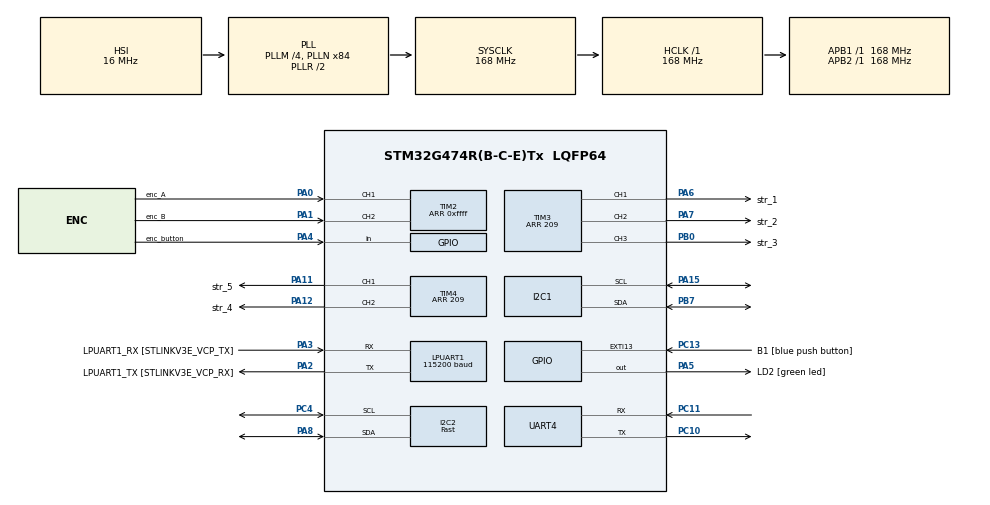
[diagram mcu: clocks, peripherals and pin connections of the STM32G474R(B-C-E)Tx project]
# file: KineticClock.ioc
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Dma.LPUART1_RX.5.Direction=DMA_PERIPH_TO_MEMORY
Dma.LPUART1_RX.5.EventEnable=DISABLE
Dma.LPUART1_RX.5.Instance=DMA1_Channel7
Dma.LPUART1_RX.5.MemDataAlignment=DMA_MDATAALIGN_BYTE
Dma.LPUART1_RX.5.MemInc=DMA_MINC_ENABLE
Dma.LPUART1_RX.5.Mode=DMA_CIRCULAR
Dma.LPUART1_RX.5.PeriphDataAlignment=DMA_PDATAALIGN_BYTE
Dma.LPUART1_RX.5.PeriphInc=DMA_PINC_DISABLE
Dma.LPUART1_RX.5.Polarity=HAL_DMAMUX_REQ_GEN_RISING
Dma.LPUART1_RX.5.Priority=DMA_PRIORITY_LOW
Dma.LPUART1_RX.5.RequestNumber=1
Dma.LPUART1_RX.5.SignalID=NONE
Dma.LPUART1_RX.5.SyncEnable=DISABLE
Dma.LPUART1_RX.5.SyncPolarity=HAL_DMAMUX_SYNC_NO_EVENT
Dma.LPUART1_RX.5.SyncRequestNumber=1
Dma.LPUART1_RX.5.SyncSignalID=NONE
Dma.LPUART1_TX.6.Direction=DMA_MEMORY_TO_PERIPH
Dma.LPUART1_TX.6.EventEnable=DISABLE
Dma.LPUART1_TX.6.Instance=DMA1_Channel8
Dma.LPUART1_TX.6.MemDataAlignment=DMA_MDATAALIGN_BYTE
Dma.LPUART1_TX.6.MemInc=DMA_MINC_ENABLE
Dma.LPUART1_TX.6.Mode=DMA_CIRCULAR
Dma.LPUART1_TX.6.PeriphDataAlignment=DMA_PDATAALIGN_BYTE
Dma.LPUART1_TX.6.PeriphInc=DMA_PINC_DISABLE
Dma.LPUART1_TX.6.Polarity=HAL_DMAMUX_REQ_GEN_RISING
Dma.LPUART1_TX.6.Priority=DMA_PRIORITY_LOW
Dma.LPUART1_TX.6.RequestNumber=1
Dma.LPUART1_TX.6.SignalID=NONE
Dma.LPUART1_TX.6.SyncEnable=DISABLE
Dma.LPUART1_TX.6.SyncPolarity=HAL_DMAMUX_SYNC_NO_EVENT
Dma.LPUART1_TX.6.SyncRequestNumber=1
Dma.LPUART1_TX.6.SyncSignalID=NONE
Dma.Request0=TIM3_CH1
Dma.Request1=TIM3_CH2
Dma.Request2=TIM3_CH3
Dma.Request3=TIM4_CH1
Dma.Request4=TIM4_CH2
Dma.Request5=LPUART1_RX
Dma.Request6=LPUART1_TX
Dma.Request7=UART4_RX
Dma.Request8=UART4_TX
Dma.TIM3_CH1.0.Direction=DMA_MEMORY_TO_PERIPH
Dma.TIM3_CH1.0.EventEnable=DISABLE
Dma.TIM3_CH1.0.Instance=DMA1_Channel1
Dma.TIM3_CH1.0.MemDataAlignment=DMA_MDATAALIGN_BYTE
Dma.TIM3_CH1.0.MemInc=DMA_MINC_ENABLE
Dma.TIM3_CH1.0.Mode=DMA_CIRCULAR
Dma.TIM3_CH1.0.PeriphDataAlignment=DMA_PDATAALIGN_HALFWORD
Dma.TIM3_CH1.0.PeriphInc=DMA_PINC_DISABLE
Dma.TIM3_CH1.0.Polarity=HAL_DMAMUX_REQ_GEN_RISING
Dma.TIM3_CH1.0.Priority=DMA_PRIORITY_VERY_HIGH
Dma.TIM3_CH1.0.RequestNumber=1
Dma.TIM3_CH1.0.SignalID=NONE
Dma.TIM3_CH1.0.SyncEnable=DISABLE
Dma.TIM3_CH1.0.SyncPolarity=HAL_DMAMUX_SYNC_NO_EVENT
Dma.TIM3_CH1.0.SyncRequestNumber=1
Dma.TIM3_CH1.0.SyncSignalID=NONE
Dma.TIM3_CH2.1.Direction=DMA_MEMORY_TO_PERIPH
Dma.TIM3_CH2.1.EventEnable=DISABLE
Dma.TIM3_CH2.1.Instance=DMA1_Channel2
Dma.TIM3_CH2.1.MemDataAlignment=DMA_MDATAALIGN_BYTE
Dma.TIM3_CH2.1.MemInc=DMA_MINC_ENABLE
Dma.TIM3_CH2.1.Mode=DMA_CIRCULAR
Dma.TIM3_CH2.1.PeriphDataAlignment=DMA_PDATAALIGN_HALFWORD
Dma.TIM3_CH2.1.PeriphInc=DMA_PINC_DISABLE
Dma.TIM3_CH2.1.Polarity=HAL_DMAMUX_REQ_GEN_RISING
Dma.TIM3_CH2.1.Priority=DMA_PRIORITY_VERY_HIGH
Dma.TIM3_CH2.1.RequestNumber=1
Dma.TIM3_CH2.1.SignalID=NONE
Dma.TIM3_CH2.1.SyncEnable=DISABLE
Dma.TIM3_CH2.1.SyncPolarity=HAL_DMAMUX_SYNC_NO_EVENT
Dma.TIM3_CH2.1.SyncRequestNumber=1
Dma.TIM3_CH2.1.SyncSignalID=NONE
Dma.TIM3_CH3.2.Direction=DMA_MEMORY_TO_PERIPH
Dma.TIM3_CH3.2.EventEnable=DISABLE
Dma.TIM3_CH3.2.Instance=DMA1_Channel3
Dma.TIM3_CH3.2.MemDataAlignment=DMA_MDATAALIGN_BYTE
Dma.TIM3_CH3.2.MemInc=DMA_MINC_ENABLE
Dma.TIM3_CH3.2.Mode=DMA_CIRCULAR
Dma.TIM3_CH3.2.PeriphDataAlignment=DMA_PDATAALIGN_HALFWORD
Dma.TIM3_CH3.2.PeriphInc=DMA_PINC_DISABLE
Dma.TIM3_CH3.2.Polarity=HAL_DMAMUX_REQ_GEN_RISING
Dma.TIM3_CH3.2.Priority=DMA_PRIORITY_VERY_HIGH
Dma.TIM3_CH3.2.RequestNumber=1
Dma.TIM3_CH3.2.SignalID=NONE
Dma.TIM3_CH3.2.SyncEnable=DISABLE
Dma.TIM3_CH3.2.SyncPolarity=HAL_DMAMUX_SYNC_NO_EVENT
Dma.TIM3_CH3.2.SyncRequestNumber=1
Dma.TIM3_CH3.2.SyncSignalID=NONE
Dma.TIM4_CH1.3.Direction=DMA_MEMORY_TO_PERIPH
Dma.TIM4_CH1.3.EventEnable=DISABLE
Dma.TIM4_CH1.3.Instance=DMA1_Channel5
Dma.TIM4_CH1.3.MemDataAlignment=DMA_MDATAALIGN_BYTE
Dma.TIM4_CH1.3.MemInc=DMA_MINC_ENABLE
Dma.TIM4_CH1.3.Mode=DMA_CIRCULAR
Dma.TIM4_CH1.3.PeriphDataAlignment=DMA_PDATAALIGN_HALFWORD
Dma.TIM4_CH1.3.PeriphInc=DMA_PINC_DISABLE
Dma.TIM4_CH1.3.Polarity=HAL_DMAMUX_REQ_GEN_RISING
Dma.TIM4_CH1.3.Priority=DMA_PRIORITY_VERY_HIGH
Dma.TIM4_CH1.3.RequestNumber=1
Dma.TIM4_CH1.3.SignalID=NONE
Dma.TIM4_CH1.3.SyncEnable=DISABLE
Dma.TIM4_CH1.3.SyncPolarity=HAL_DMAMUX_SYNC_NO_EVENT
Dma.TIM4_CH1.3.SyncRequestNumber=1
Dma.TIM4_CH1.3.SyncSignalID=NONE
Dma.TIM4_CH2.4.Direction=DMA_MEMORY_TO_PERIPH
Dma.TIM4_CH2.4.EventEnable=DISABLE
Dma.TIM4_CH2.4.Instance=DMA1_Channel4
Dma.TIM4_CH2.4.MemDataAlignment=DMA_MDATAALIGN_BYTE
Dma.TIM4_CH2.4.MemInc=DMA_MINC_ENABLE
Dma.TIM4_CH2.4.Mode=DMA_CIRCULAR
Dma.TIM4_CH2.4.PeriphDataAlignment=DMA_PDATAALIGN_HALFWORD
Dma.TIM4_CH2.4.PeriphInc=DMA_PINC_DISABLE
Dma.TIM4_CH2.4.Polarity=HAL_DMAMUX_REQ_GEN_RISING
Dma.TIM4_CH2.4.Priority=DMA_PRIORITY_VERY_HIGH
Dma.TIM4_CH2.4.RequestNumber=1
Dma.TIM4_CH2.4.SignalID=NONE
Dma.TIM4_CH2.4.SyncEnable=DISABLE
Dma.TIM4_CH2.4.SyncPolarity=HAL_DMAMUX_SYNC_NO_EVENT
Dma.TIM4_CH2.4.SyncRequestNumber=1
Dma.TIM4_CH2.4.SyncSignalID=NONE
Dma.UART4_RX.7.Direction=DMA_PERIPH_TO_MEMORY
Dma.UART4_RX.7.EventEnable=DISABLE
Dma.UART4_RX.7.Instance=DMA1_Channel6
Dma.UART4_RX.7.MemDataAlignment=DMA_MDATAALIGN_BYTE
Dma.UART4_RX.7.MemInc=DMA_MINC_ENABLE
Dma.UART4_RX.7.Mode=DMA_CIRCULAR
Dma.UART4_RX.7.PeriphDataAlignment=DMA_PDATAALIGN_BYTE
Dma.UART4_RX.7.PeriphInc=DMA_PINC_DISABLE
Dma.UART4_RX.7.Polarity=HAL_DMAMUX_REQ_GEN_RISING
Dma.UART4_RX.7.Priority=DMA_PRIORITY_LOW
Dma.UART4_RX.7.RequestNumber=1
Dma.UART4_RX.7.SignalID=NONE
Dma.UART4_RX.7.SyncEnable=DISABLE
Dma.UART4_RX.7.SyncPolarity=HAL_DMAMUX_SYNC_NO_EVENT
Dma.UART4_RX.7.SyncRequestNumber=1
Dma.UART4_RX.7.SyncSignalID=NONE
Dma.UART4_TX.8.Direction=DMA_MEMORY_TO_PERIPH
Dma.UART4_TX.8.EventEnable=DISABLE
Dma.UART4_TX.8.Instance=DMA2_Channel1
Dma.UART4_TX.8.MemDataAlignment=DMA_MDATAALIGN_BYTE
Dma.UART4_TX.8.MemInc=DMA_MINC_ENABLE
Dma.UART4_TX.8.Mode=DMA_CIRCULAR
Dma.UART4_TX.8.PeriphDataAlignment=DMA_PDATAALIGN_BYTE
Dma.UART4_TX.8.PeriphInc=DMA_PINC_DISABLE
Dma.UART4_TX.8.Polarity=HAL_DMAMUX_REQ_GEN_RISING
Dma.UART4_TX.8.Priority=DMA_PRIORITY_LOW
Dma.UART4_TX.8.RequestNumber=1
Dma.UART4_TX.8.SignalID=NONE
Dma.UART4_TX.8.SyncEnable=DISABLE
Dma.UART4_TX.8.SyncPolarity=HAL_DMAMUX_SYNC_NO_EVENT
Dma.UART4_TX.8.SyncRequestNumber=1
Dma.UART4_TX.8.SyncSignalID=NONE
I2C1.Timing=0x60505F8C
I2C2.I2C_Speed_Mode=I2C_Fast
I2C2.Timing=0x20501E65
LPUART1.BaudRate=115200
LPUART1.WordLength=UART_WORDLENGTH_8B
Mcu.Family=STM32G4
Mcu.Name=STM32G474R(B-C-E)Tx
Mcu.Package=LQFP64
NVIC.DMA1_Channel1_IRQn=true\:0\:0\:false\:false\:true\:false\:true
NVIC.DMA1_Channel2_IRQn=true\:0\:0\:false\:false\:true\:false\:true
NVIC.DMA1_Channel3_IRQn=true\:0\:0\:false\:false\:true\:false\:true
NVIC.DMA1_Channel4_IRQn=true\:0\:0\:false\:false\:true\:false\:true
NVIC.DMA1_Channel5_IRQn=true\:0\:0\:false\:false\:true\:false\:true
NVIC.DMA1_Channel6_IRQn=true\:0\:0\:false\:false\:true\:false\:true
NVIC.DMA1_Channel7_IRQn=true\:0\:0\:false\:false\:true\:false\:true
NVIC.DMA1_Channel8_IRQn=true\:0\:0\:false\:false\:true\:false\:true
NVIC.DMA2_Channel1_IRQn=true\:0\:0\:false\:false\:true\:false\:true
NVIC.EXTI15_10_IRQn=true\:0\:0\:false\:false\:true\:true\:true
NVIC.LPUART1_IRQn=true\:0\:0\:false\:false\:true\:true\:true
NVIC.PriorityGroup=NVIC_PRIORITYGROUP_4
NVIC.UART4_IRQn=true\:0\:0\:false\:false\:true\:true\:true
PA0.GPIO_Label=enc_A
PA0.Signal=S_TIM2_CH1
PA1.GPIO_Label=enc_B
PA1.Signal=S_TIM2_CH2
PA11.GPIO_Label=str_5
PA11.Signal=S_TIM4_CH1
PA12.GPIO_Label=str_4
PA12.Signal=S_TIM4_CH2
PA13.GPIO_Label=T_SWDIO
PA13.Mode=Serial_Wire
PA13.Signal=SYS_JTMS-SWDIO
PA14.GPIO_Label=T_SWCLK
PA14.Mode=Serial_Wire
PA14.Signal=SYS_JTCK-SWCLK
PA15.Mode=I2C
PA15.Signal=I2C1_SCL
PA2.GPIO_Label=LPUART1_TX [STLINKV3E_VCP_RX]
PA2.Mode=Asynchronous
PA2.Signal=LPUART1_TX
PA3.GPIO_Label=LPUART1_RX [STLINKV3E_VCP_TX]
PA3.Mode=Asynchronous
PA3.Signal=LPUART1_RX
PA4.GPIO_Label=enc_button
PA4.Signal=GPIO_Input
PA5.GPIO_Label=LD2 [green led]
PA5.Signal=GPIO_Output
PA6.GPIO_Label=str_1
PA6.Signal=S_TIM3_CH1
PA7.GPIO_Label=str_2
PA7.Signal=S_TIM3_CH2
PA8.Mode=I2C
PA8.Signal=I2C2_SDA
PB0.GPIO_Label=str_3
PB0.Signal=S_TIM3_CH3
PB3.GPIO_Label=T_SWO
PB3.Signal=SYS_JTDO-SWO
PB7.Mode=I2C
PB7.Signal=I2C1_SDA
PC10.Mode=Asynchronous
PC10.Signal=UART4_TX
PC11.Mode=Asynchronous
PC11.Signal=UART4_RX
PC13.GPIO_Label=B1 [blue push button]
PC13.Signal=GPXTI13
PC14-OSC32_IN.Mode=LSE-External-Oscillator
PC14-OSC32_IN.Signal=RCC_OSC32_IN
PC15-OSC32_OUT.Mode=LSE-External-Oscillator
PC15-OSC32_OUT.Signal=RCC_OSC32_OUT
PC4.Mode=I2C
PC4.Signal=I2C2_SCL
PF0-OSC_IN.Mode=HSE-External-Oscillator
PF0-OSC_IN.Signal=RCC_OSC_IN
PF1-OSC_OUT.Mode=HSE-External-Oscillator
PF1-OSC_OUT.Signal=RCC_OSC_OUT
ProjectManager.HeapSize=0x200
ProjectManager.StackSize=0x400
ProjectManager.TargetToolchain=STM32CubeIDE
RCC.ADC12Freq_Value=168000000
RCC.ADC345Freq_Value=168000000
RCC.AHBFreq_Value=168000000
RCC.APB1Freq_Value=168000000
RCC.APB1TimFreq_Value=168000000
RCC.APB2Freq_Value=168000000
RCC.APB2TimFreq_Value=168000000
RCC.CortexFreq_Value=168000000
RCC.EXTERNAL_CLOCK_VALUE=12288000
RCC.HCLKFreq_Value=168000000
RCC.HSE_VALUE=24000000
RCC.HSI48_VALUE=48000000
RCC.HSI_VALUE=16000000
RCC.PLLM=RCC_PLLM_DIV4
RCC.PLLN=84
RCC.RTCClockSelection=RCC_RTCCLKSOURCE_LSE
RCC.SYSCLKFreq_VALUE=168000000
RCC.SYSCLKSource=RCC_SYSCLKSOURCE_PLLCLK
RCC.USBFreq_Value=168000000
RCC.VCOOutputFreq_Value=336000000
SH.S_TIM2_CH1.0=TIM2_CH1,Encoder_Interface
SH.S_TIM2_CH2.0=TIM2_CH2,Encoder_Interface
SH.S_TIM3_CH1.0=TIM3_CH1,PWM Generation1 CH1
SH.S_TIM3_CH2.0=TIM3_CH2,PWM Generation2 CH2
SH.S_TIM3_CH3.0=TIM3_CH3,PWM Generation3 CH3
SH.S_TIM4_CH1.0=TIM4_CH1,PWM Generation1 CH1
SH.S_TIM4_CH2.0=TIM4_CH2,PWM Generation2 CH2
TIM1.AutoReloadPreload=TIM_AUTORELOAD_PRELOAD_DISABLE
TIM1.PeriodNoDither=0xffff-1
TIM1.Prescaler=168-1
TIM2.EncoderMode=TIM_ENCODERMODE_TI12
TIM2.IC1Filter=3
TIM2.IC2Filter=3
TIM2.PeriodNoDither=0xffff
TIM3.AutoReloadPreload=TIM_AUTORELOAD_PRELOAD_DISABLE
TIM3.Channel-PWM\ Generation1\ CH1=TIM_CHANNEL_1
TIM3.Channel-PWM\ Generation2\ CH2=TIM_CHANNEL_2
TIM3.Channel-PWM\ Generation3\ CH3=TIM_CHANNEL_3
TIM3.PeriodNoDither=209
TIM4.Channel-PWM\ Generation1\ CH1=TIM_CHANNEL_1
TIM4.Channel-PWM\ Generation2\ CH2=TIM_CHANNEL_2
TIM4.PeriodNoDither=209
VP_RTC_VS_RTC_Activate.Mode=RTC_Enabled
VP_SYS_VS_DBSignals.Mode=DisableDeadBatterySignals
VP_TIM1_VS_ClockSourceINT.Mode=Internal
VP_TIM3_VS_ClockSourceINT.Mode=Internal
VP_TIM4_VS_ClockSourceINT.Mode=Internal
board=NUCLEO-G474RE

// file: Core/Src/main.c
/* USER CODE BEGIN Header */
/**
  ******************************************************************************
  * @file           : main.c
  * @brief          : Main program body
  ******************************************************************************
  * @attention
  *
  * <h2><center>&copy; Copyright (c) 2021 STMicroelectronics.
  * All rights reserved.</center></h2>
  *
  * This software component is licensed by ST under BSD 3-Clause license,
  * the "License"; You may not use this file except in compliance with the
  * License. You may obtain a copy of the License at:
  *                        opensource.org/licenses/BSD-3-Clause
  *
  ******************************************************************************
  */
/* USER CODE END Header */

#include "main.h"
#include "dma.h"
#include "i2c.h"
#include "usart.h"
#include "rtc.h"
#include "tim.h"
#include "gpio.h"

/* USER CODE BEGIN Includes */
#include <string.h>
#include <stdio.h>
#include "stm32g4xx_it.h"
#include "utilities.h"
#include "pca9685.h"
#include "ws2812b.h"
#include "clock.h"
#include "seven_segment.h"
#include "uart_handler.h"
/* USER CODE END Includes */

/* USER CODE BEGIN PD */
#define PCA9685_SERVO_MODE
//#define SERIAL_TIME
#ifdef SERIAL_TIME
#define DEL 500
#else
#define DEL 100
#endif
/* USER CODE END PD */

void SystemClock_Config(void);

int main(void)
{

  /* MCU Configuration--------------------------------------------------------*/

  /* Reset of all peripherals, Initializes the Flash interface and the Systick. */
  HAL_Init();

  /* Configure the system clock */
  SystemClock_Config();

  /* Initialize all configured peripherals */
  MX_GPIO_Init();
  MX_DMA_Init();
  MX_LPUART1_UART_Init();
  MX_RTC_Init();
  MX_I2C2_Init();
  MX_TIM2_Init();
  MX_I2C1_Init();
  MX_TIM1_Init();
  MX_TIM3_Init();
  MX_TIM4_Init();
  MX_UART4_Init();
  /* USER CODE BEGIN 2 */

  //Setup DMA UART
  //Note to self: Find out why the DMA UART TX would get stuck in a TX loop.
  //For the time being just use the normal UART transmit
  RX_Init();
  init_handler();

  HAL_TIM_Base_Start(&htim1); //Used for uS delay

  // Initialize the RTC
  sgTime clock;

  //set initial clock state
  clock_state = 1;

  if(HAL_RTCEx_BKUPRead(&hrtc, RTC_BKP_DR1) != 0x32F2){
      //   Set the time
  	init_clock(&clock);
  }

  uint8_t current_sum = 0; //Used for determining a change in time
  uint8_t last_sum = 0; //Used for determining a change in time

  // Setup the PCA9685 devices for controlling the servos
  I2C_HandleTypeDef *pca_hours;
  I2C_HandleTypeDef *pca_minutes;
  pca_hours = &hi2c1;
  pca_minutes = &hi2c2;
  PCA9685_Init(pca_hours);
  PCA9685_Init(pca_minutes);

  //Setup all the LEDs structures
  LightStrip LS_HrTen; 	//Tens place for hours
  LS_init(&LS_HrTen, LED_COUNT, &hdma_tim3_ch1, &htim3, TIM_CHANNEL_1);
  LightStrip LS_HrOne;	//Ones place for hours
  LS_init(&LS_HrOne, LED_COUNT, &hdma_tim3_ch2, &htim3, TIM_CHANNEL_2);
  LightStrip LS_MnTen;	//Tens place for minutes
  LS_init(&LS_MnTen, LED_COUNT, &hdma_tim3_ch3, &htim3, TIM_CHANNEL_3);
  LightStrip LS_MnOne;	//Ones place for minutes
  LS_init(&LS_MnOne, LED_COUNT, &hdma_tim4_ch2, &htim4, TIM_CHANNEL_2);
  LightStrip TimSep;	//Time Separator
  LS_init(&TimSep  , 20	      , &hdma_tim4_ch1, &htim4, TIM_CHANNEL_1);

  //Setup the clock Digits

  //All 4 digits are setup in the Seven_Segment.h file. You should look into creating an Init header.
  uint8_t arr_HrTen[7] = {0,1,2,3,4,5,6}; 					// Pinout values for servos on pca_hours
  init_Digit(&D_HrTen, &LS_HrTen,arr_HrTen,pca_hours,H10); 	// Initialize the HrTen Digit
  uint8_t h10_min_off[7] = {0,5,0,10,10,8,10};
  uint8_t h10_max_off[7] = {40,45,30,48,50,45,48};
  init_offsets(&D_HrTen, h10_min_off, h10_max_off);
  all_Digit_servo(&D_HrTen, 1); 							// Set Digit servos to Home position

  uint8_t arr_HrOne[7] = {8,9,10,11,12,13,14};				// Pinout values for servos on pca_hours
  init_Digit(&D_HrOne, &LS_HrOne,arr_HrOne,pca_hours,H1);	// Initialize the HrOne Digit
  uint8_t h1_min_off[7] = {5,0,5,0,0,0,5};
  uint8_t h1_max_off[7] = {45,40,40,45,45,45,40};
  init_offsets(&D_HrOne, h1_min_off, h1_max_off);
  all_Digit_servo(&D_HrOne, 1);							// Set Digit servos to Home position

  uint8_t arr_MnTen[7] = {0,1,2,3,4,5,6};					// Pinout values for servos on pca_minutes
  init_Digit(&D_MnTen, &LS_MnTen,arr_MnTen,pca_minutes,M10);// Initialize the MnTen Digit
  uint8_t m10_min_off[7] = {5,10,5,5,0,5,5};
  uint8_t m10_max_off[7] = {48,50,48,48,48,48,48};
  init_offsets(&D_MnTen, m10_min_off, m10_max_off);
  all_Digit_servo(&D_MnTen, 1);							// Set Digit servos to Home position

  uint8_t arr_MnOne[7] = {8,9,10,11,12,13,14};				// Pinout values for servos on pca_minutes
  init_Digit(&D_MnOne, &LS_MnOne,arr_MnOne,pca_minutes,M1);	// Initialize the MnOne Digit
  uint8_t m1_min_off[7] = {0,5,5,10,5,0,10};
  uint8_t m1_max_off[7] = {50,48,50,50,48,42,55};
  init_offsets(&D_MnOne, m1_min_off, m1_max_off);
  all_Digit_servo(&D_MnOne, 1);							// Set Digit servos to Home position

  // Variables for color sweep on separator
  uint8_t angle = 0;
  uint8_t angle_difference =15;
  uint8_t i = 20;

  // Set Clock Digits to current time
  update_Digits(&D_HrTen, &D_HrOne, &D_MnTen, &D_MnOne, &clock);
  render_Digits(&D_HrTen, &D_HrOne, &D_MnTen, &D_MnOne);
  /* USER CODE END 2 */

  /* Infinite loop */
  /* USER CODE BEGIN WHILE */

  while (1){
	 // If clock state is active clock update is available
	 if(clock_state == 1){
		 get_time(&clock); // Refresh current time
		 current_sum = clock.gTime.Hours+clock.gTime.Minutes;// Sum Hours and Minutes
		 if(current_sum != last_sum){
			  // Set Clock Digits to current time
			  update_Digits(&D_HrTen, &D_HrOne, &D_MnTen, &D_MnOne, &clock);
			  render_Digits(&D_HrTen, &D_HrOne, &D_MnTen, &D_MnOne);
		 }
		 render_sep(&TimSep, angle + (i * angle_difference), 255, 10);// Update separator color
		 i++;
		 change_time(&clock, &cv);// Check clock vars and change if necessary
		 last_sum = current_sum;
#ifdef SERIAL_TIME
	 serialTime(&clock); // Output time over Serial
#endif

#ifdef SERIAL_DATE
	  serialDate(&clock); // Output date over Serial
#endif
	 }
	 HAL_Delay(DEL);

    /* USER CODE END WHILE */

  }
}

void SystemClock_Config(void)
{
  RCC_OscInitTypeDef RCC_OscInitStruct = {0};
  RCC_ClkInitTypeDef RCC_ClkInitStruct = {0};
  RCC_PeriphCLKInitTypeDef PeriphClkInit = {0};

  /** Configure the main internal regulator output voltage
  */
  HAL_PWREx_ControlVoltageScaling(PWR_REGULATOR_VOLTAGE_SCALE1_BOOST);
  /** Configure LSE Drive Capability
  */
  HAL_PWR_EnableBkUpAccess();
  __HAL_RCC_LSEDRIVE_CONFIG(RCC_LSEDRIVE_LOW);
  /** Initializes the CPU, AHB and APB busses clocks
  */
  RCC_OscInitStruct.OscillatorType = RCC_OSCILLATORTYPE_HSI|RCC_OSCILLATORTYPE_LSE;
  RCC_OscInitStruct.LSEState = RCC_LSE_ON;
  RCC_OscInitStruct.HSIState = RCC_HSI_ON;
  RCC_OscInitStruct.HSICalibrationValue = RCC_HSICALIBRATION_DEFAULT;
  RCC_OscInitStruct.PLL.PLLState = RCC_PLL_ON;
  RCC_OscInitStruct.PLL.PLLSource = RCC_PLLSOURCE_HSI;
  RCC_OscInitStruct.PLL.PLLM = RCC_PLLM_DIV4;
  RCC_OscInitStruct.PLL.PLLN = 84;
  RCC_OscInitStruct.PLL.PLLP = RCC_PLLP_DIV2;
  RCC_OscInitStruct.PLL.PLLQ = RCC_PLLQ_DIV2;
  RCC_OscInitStruct.PLL.PLLR = RCC_PLLR_DIV2;
  if (HAL_RCC_OscConfig(&RCC_OscInitStruct) != HAL_OK)
  {
    Error_Handler();
  }
  /** Initializes the CPU, AHB and APB busses clocks
  */
  RCC_ClkInitStruct.ClockType = RCC_CLOCKTYPE_HCLK|RCC_CLOCKTYPE_SYSCLK
                              |RCC_CLOCKTYPE_PCLK1|RCC_CLOCKTYPE_PCLK2;
  RCC_ClkInitStruct.SYSCLKSource = RCC_SYSCLKSOURCE_PLLCLK;
  RCC_ClkInitStruct.AHBCLKDivider = RCC_SYSCLK_DIV1;
  RCC_ClkInitStruct.APB1CLKDivider = RCC_HCLK_DIV1;
  RCC_ClkInitStruct.APB2CLKDivider = RCC_HCLK_DIV1;

  if (HAL_RCC_ClockConfig(&RCC_ClkInitStruct, FLASH_LATENCY_8) != HAL_OK)
  {
    Error_Handler();
  }
  /** Initializes the peripherals clocks
  */
  PeriphClkInit.PeriphClockSelection = RCC_PERIPHCLK_RTC|RCC_PERIPHCLK_UART4
                              |RCC_PERIPHCLK_LPUART1|RCC_PERIPHCLK_I2C1
                              |RCC_PERIPHCLK_I2C2;
  PeriphClkInit.Uart4ClockSelection = RCC_UART4CLKSOURCE_PCLK1;
  PeriphClkInit.Lpuart1ClockSelection = RCC_LPUART1CLKSOURCE_PCLK1;
  PeriphClkInit.I2c1ClockSelection = RCC_I2C1CLKSOURCE_PCLK1;
  PeriphClkInit.I2c2ClockSelection = RCC_I2C2CLKSOURCE_PCLK1;
  PeriphClkInit.RTCClockSelection = RCC_RTCCLKSOURCE_LSE;
  if (HAL_RCCEx_PeriphCLKConfig(&PeriphClkInit) != HAL_OK)
  {
    Error_Handler();
  }
}

void Error_Handler(void)
{
}

/************************ (C) COPYRIGHT STMicroelectronics *****END OF FILE****/
